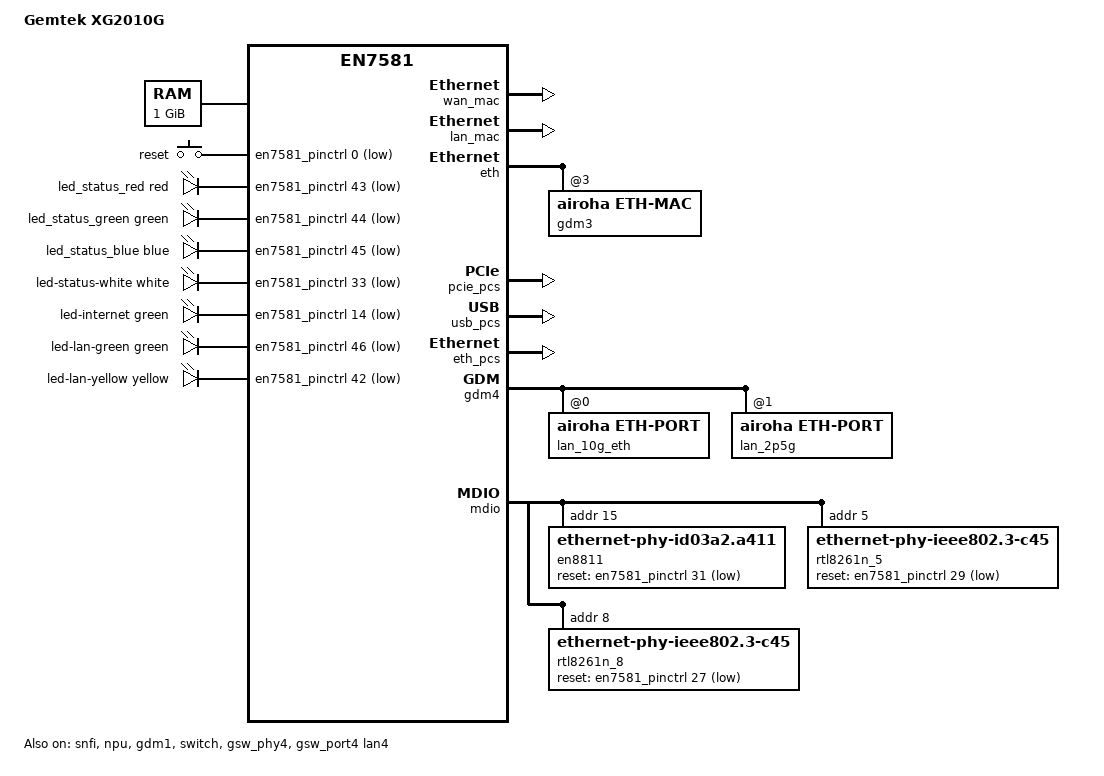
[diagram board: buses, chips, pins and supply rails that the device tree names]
// SPDX-License-Identifier: (GPL-2.0-only OR BSD-2-Clause)
/dts-v1/;

/* Firmware reserves the first 2 MiB of DRAM. */
/memreserve/ 0x80000000 0x200000;

#include <dt-bindings/gpio/gpio.h>
#include <dt-bindings/input/input.h>
#include <dt-bindings/leds/common.h>
#include <dt-bindings/phy/phy.h>
#include "an7581.dtsi"

/ {
	model = "Gemtek XG2010G";
	compatible = "gemtek,xg2010g", "airoha,an7581", "airoha,en7581";

	aliases {
		label-mac-device = &lan_10g_eth;
		led-boot = &led_status_red;
		led-failsafe = &led_status_blue;
		led-running = &led_status_green;
		led-upgrade = &led_status_blue;
		serial0 = &uart1;
	};

	chosen {
		/* Create fastmap on first attach for boot firmware and Linux reuse. */
		bootargs = "console=ttyS0,115200 earlycon";
		rootdisk = <&ubi_fit>;
		stdout-path = "serial0:115200n8";
	};

	memory@80000000 {
		device_type = "memory";
		/* The board contains 1 GiB of DRAM. */
		reg = <0x0 0x80000000 0x0 0x40000000>;
	};

	keys {
		compatible = "gpio-keys";

		key-reset {
			label = "reset";
			linux,code = <KEY_RESTART>;
			gpios = <&en7581_pinctrl 0 GPIO_ACTIVE_LOW>;
			debounce-interval = <60>;
		};
	};

	leds {
		compatible = "gpio-leds";

		led_status_red: led-status-red {
			color = <LED_COLOR_ID_RED>;
			function = LED_FUNCTION_STATUS;
			gpios = <&en7581_pinctrl 43 GPIO_ACTIVE_LOW>;
			default-state = "on";
		};

		led_status_green: led-status-green {
			color = <LED_COLOR_ID_GREEN>;
			function = LED_FUNCTION_STATUS;
			gpios = <&en7581_pinctrl 44 GPIO_ACTIVE_LOW>;
		};

		led_status_blue: led-status-blue {
			color = <LED_COLOR_ID_BLUE>;
			function = LED_FUNCTION_STATUS;
			gpios = <&en7581_pinctrl 45 GPIO_ACTIVE_LOW>;
		};

		led-status-white {
			color = <LED_COLOR_ID_WHITE>;
			function = LED_FUNCTION_STATUS;
			gpios = <&en7581_pinctrl 33 GPIO_ACTIVE_LOW>;
		};

		led-internet {
			color = <LED_COLOR_ID_GREEN>;
			function = LED_FUNCTION_WAN_ONLINE;
			gpios = <&en7581_pinctrl 14 GPIO_ACTIVE_LOW>;
		};



		/* GPIO42 and GPIO46 drive the LAN4 1GbE bicolor indicator. */
		led-lan-green {
			color = <LED_COLOR_ID_GREEN>;
			function = LED_FUNCTION_LAN;
			function-enumerator = <4>;
			gpios = <&en7581_pinctrl 46 GPIO_ACTIVE_LOW>;
		};

		led-lan-yellow {
			color = <LED_COLOR_ID_YELLOW>;
			function = LED_FUNCTION_LAN;
			function-enumerator = <4>;
			gpios = <&en7581_pinctrl 42 GPIO_ACTIVE_LOW>;
		};
	};
};

&en7581_pinctrl {
	gpio-ranges = <&en7581_pinctrl 0 13 50>;

	mdio_pins: mdio-pins {
		mux {
			function = "mdio";
			groups = "mdio";
		};
	};

};

&snfi {
	status = "okay";
};

&spi_nand {
	/* Winbond W25N04K provides 512 MiB with 2 KiB pages and 128 KiB blocks. */
	compatible = "winbond,w25n04kv", "spi-nand";
	nand-ecc-engine = <&spi_nand>;

	partitions {
		compatible = "fixed-partitions";
		#address-cells = <1>;
		#size-cells = <1>;

		partition@0 {
			label = "bl2";
			/* BootROM reads the BL2 FIP at offset 0x800 in the first eraseblock. */
			reg = <0x00000000 0x00020000>;
			read-only;
		};

		partition@20000 {
			label = "ubi";
			/* A zero size extends the UBI partition to the physical NAND end. */
			reg = <0x00020000 0x00000000>;
			compatible = "linux,ubi";

			volumes {
				ubi_fip: ubi-volume-fip {
					volname = "fip";
				};

				ubi_env: ubi-volume-ubootenv {
					volname = "ubootenv";
				};

				ubi_env2: ubi-volume-ubootenv2 {
					volname = "ubootenv2";
				};

				factory_storage: ubi-volume-factory {
					volname = "factory";

					nvmem-layout {
						compatible = "fixed-layout";
						#address-cells = <1>;
						#size-cells = <1>;


						wan_mac: mac-address@6c {
							/* DSD wan_mac uses 17-byte colon-delimited text. */
							compatible = "mac-base";
							reg = <0x0000006c 0x00000011>;
							#nvmem-cell-cells = <1>;
						};

						lan_mac: mac-address@86 {
							/* Four LAN netdevs derive sequential addresses from lan_mac. */
							compatible = "mac-base";
							reg = <0x00000086 0x00000011>;
							#nvmem-cell-cells = <1>;
						};

					};
				};

				ubi_fit: ubi-volume-fit {
					/* The fit volume contains the kernel and read-only rootfs. */
					volname = "fit";
				};
			};
		};
	};
};

&ubi_env {
	nvmem-layout {
		compatible = "u-boot,env-redundant-bool-layout";
	};
};

&ubi_env2 {
	nvmem-layout {
		compatible = "u-boot,env-redundant-bool-layout";
	};
};


&npu {
	status = "okay";
};

&eth {
	status = "okay";

	/* GDM3 NBQ4 and NBQ5 connect the PCIe0 and PCIe1 SerDes paths. */
	gdm3: ethernet@3 {
		compatible = "airoha,eth-mac";
		reg = <3>;
		#address-cells = <1>;
		#size-cells = <0>;
		status = "okay";

		lan_10g_pcie1: ethernet-port@5 {
			compatible = "airoha,eth-port";
			reg = <5>;
			managed = "in-band-status";
			pcs-handle = <&pcie_pcs 1>;
			phy-handle = <&rtl8261n_8>;
			phy-mode = "usxgmii";
			nvmem-cells = <&lan_mac 1>;
			nvmem-cell-names = "mac-address";
			openwrt,netdev-name = "lan2";
			status = "okay";
		};
	};
};

&gdm1 {
	nvmem-cells = <&lan_mac 3>;
	nvmem-cell-names = "mac-address";
	status = "okay";
};




&pciephy {
	/* The dual-port Ethernet PCS manages the shared PMA for PCIe1 RTL8261N. */
	status = "disabled";
};

&pcie_pcs {
	status = "okay";
};

&usb_pcs {
	status = "okay";
};

&eth_pcs {
	status = "okay";
};

&gdm4 {
	/delete-property/ pcs-handle;
	#address-cells = <1>;
	#size-cells = <0>;
	status = "okay";

	/* NBQ0 connects the Ethernet SerDes for the first panel 10GbE port. */
	lan_10g_eth: ethernet-port@0 {
		compatible = "airoha,eth-port";
		reg = <0>;
		managed = "in-band-status";
		pcs-handle = <&eth_pcs>;
		phy-handle = <&rtl8261n_5>;
		phy-mode = "usxgmii";
		nvmem-cells = <&wan_mac 0>;
		nvmem-cell-names = "mac-address";
		openwrt,netdev-name = "lan1";
		status = "okay";
	};

	/* NBQ1 connects USB1 SerDes to the EN8811H 2500BASE-X host link. */
	lan_2p5g: ethernet-port@1 {
		compatible = "airoha,eth-port";
		reg = <1>;
		pcs-handle = <&usb_pcs>;
		phy-handle = <&en8811>;
		phy-mode = "2500base-x";
		nvmem-cells = <&lan_mac 2>;
		nvmem-cell-names = "mac-address";
		openwrt,netdev-name = "lan3";
		status = "okay";
	};
};

&switch {
	pinctrl-names = "default";
	pinctrl-0 = <&mdio_pins>;
	status = "okay";
};

&mdio {
	/* EN8811H uses MDIO address 0x0f and mode 1 for 2500BASE-X. */
	en8811: ethernet-phy@f {
		compatible = "ethernet-phy-id03a2.a411";
		reg = <0x0f>;
		/* GPIO31 resets EN8811H before MD32 firmware loading. */
		reset-gpios = <&en7581_pinctrl 31 GPIO_ACTIVE_LOW>;
		reset-assert-us = <1000000>;
		reset-deassert-us = <100000>;
	};

	/* GPIO29 and GPIO27 are active-low resets for the two RTL8261N PHYs. */
	rtl8261n_5: ethernet-phy@5 {
		compatible = "ethernet-phy-ieee802.3-c45";
		reg = <5>;
		reset-gpios = <&en7581_pinctrl 29 GPIO_ACTIVE_LOW>;
		reset-assert-us = <200000>;
		reset-deassert-us = <200000>;
		tx-polarity = <PHY_POL_INVERT>;
		rx-polarity = <PHY_POL_INVERT>;
	};

	rtl8261n_8: ethernet-phy@8 {
		compatible = "ethernet-phy-ieee802.3-c45";
		reg = <8>;
		reset-gpios = <&en7581_pinctrl 27 GPIO_ACTIVE_LOW>;
		reset-assert-us = <200000>;
		reset-deassert-us = <200000>;
		tx-polarity = <PHY_POL_INVERT>;
		rx-polarity = <PHY_POL_INVERT>;
	};
};

&gsw_phy4 {
	/* Switch port 4 connects the 1GbE PHY at MDIO address 0x0c. */
	interrupts = <4>;
	status = "okay";
};

&gsw_port4 {
	label = "lan4";
	status = "okay";
};

&xpon_mac {
	status = "disabled";
};
